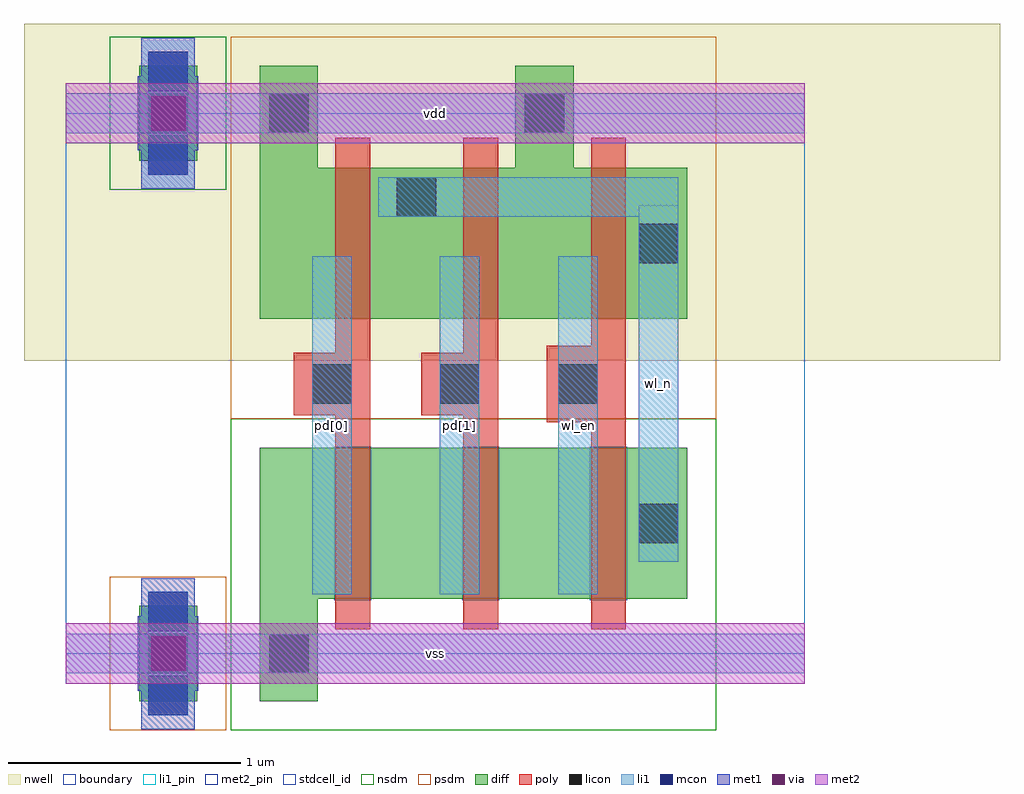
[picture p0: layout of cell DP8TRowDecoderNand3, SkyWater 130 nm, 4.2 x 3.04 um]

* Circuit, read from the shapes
.subckt DP8TRowDecoderNand3 pd[0] pd[1] vdd vss wl_en wl_n
XM1 n1 pd[0] vss VSUBS sky130_fd_pr__nfet_01v8 w=0.65 l=0.15
XM2 n2 pd[1] n1 VSUBS sky130_fd_pr__nfet_01v8 w=0.65 l=0.15
XM3 wl_n wl_en n2 VSUBS sky130_fd_pr__nfet_01v8 w=0.65 l=0.15
XM4 wl_n pd[0] vdd n3 sky130_fd_pr__pfet_01v8 w=0.65 l=0.15
XM5 vdd pd[1] wl_n n3 sky130_fd_pr__pfet_01v8 w=0.65 l=0.15
XM6 wl_n wl_en vdd n3 sky130_fd_pr__pfet_01v8 w=0.65 l=0.15
.ends

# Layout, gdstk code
import gdstk
lib = gdstk.Library(unit=1e-6, precision=1e-09)
def R(c, l, rs):  # rectangles x0, y0, x1, y1
    for r in rs: c.add(gdstk.rectangle(r[:2], r[2:], *l))
def A(c, l, x, y, w, h, nx, ny, dx, dy):  # array of equal rectangles
    R(c, l, [(x+i*dx, y+j*dy, x+i*dx+w, y+j*dy+h) for i in range(nx) for j in range(ny)])
def P(c, l, *ps):  # polygons
    for p in ps: c.add(gdstk.Polygon(p, *l))
nwell = (64, 20)
diff = (65, 20)
poly = (66, 20)
licon = (66, 44)
li1_pin = (67, 16)
li1 = (67, 20)
mcon = (67, 44)
met1 = (68, 20)
via = (68, 44)
met2_pin = (69, 16)
met2 = (69, 20)
stdcell_id = (81, 4)
nsdm = (93, 44)
psdm = (94, 20)
boundary = (235, 4)

dp8trowdecodernand3 = lib.new_cell('DP8TRowDecoderNand3')
R(dp8trowdecodernand3, nwell, [(-0.18,1.26,4.02,2.71)])
R(dp8trowdecodernand3, diff, [(0.315,-0.205,0.565,0.205), (0.315,2.12,0.565,2.53)])
P(dp8trowdecodernand3, diff, [(0.835,-0.205),(0.835,0.885),(2.675,0.885),(2.675,0.235),(1.085,0.235),(1.085,-0.205)],
  [(0.835,1.44),(0.835,2.53),(1.085,2.53),(1.085,2.09),(1.935,2.09),(1.935,2.53),(2.185,2.53),(2.185,2.09),(2.675,2.09),(2.675,1.44)])
P(dp8trowdecodernand3, poly, [(1.16,0.105),(1.16,1.025),(0.98,1.025),(0.98,1.295),(1.16,1.295),(1.16,2.22),(1.31,2.22),(1.31,0.105)],
  [(1.71,0.105),(1.71,1.025),(1.53,1.025),(1.53,1.295),(1.71,1.295),(1.71,2.22),(1.86,2.22),(1.86,0.105)],
  [(2.26,0.105),(2.26,0.995),(2.07,0.995),(2.07,1.325),(2.26,1.325),(2.26,2.22),(2.41,2.22),(2.41,0.105)])
R(dp8trowdecodernand3, licon, [(0.355,-0.085,0.525,0.085), (0.875,-0.085,1.045,0.085), (2.465,0.475,2.635,0.645), (1.06,1.075,1.23,1.245), (1.61,1.075,1.78,1.245), (2.12,1.075,2.29,1.245), (2.465,1.68,2.635,1.85), (1.425,1.88,1.595,2.05), (0.355,2.24,0.525,2.41), (0.875,2.24,1.045,2.41), (1.975,2.24,2.145,2.41)])
R(dp8trowdecodernand3, li1_pin, [(1.06,0.255,1.23,1.71), (1.61,0.255,1.78,1.71), (2.12,0.255,2.29,1.71), (2.465,0.395,2.635,1.93)])
R(dp8trowdecodernand3, li1, [(1.06,0.255,1.23,1.71), (1.61,0.255,1.78,1.71), (2.12,0.255,2.29,1.71)])
P(dp8trowdecodernand3, li1, [(0.355,-0.265),(0.355,-0.085),(0,-0.085),(0,0.085),(0.355,0.085),(0.355,0.265),(0.525,0.265),(0.525,0.085),(3.18,0.085),(3.18,-0.085),(0.525,-0.085),(0.525,-0.265)],
  [(0.355,2.06),(0.355,2.24),(0,2.24),(0,2.41),(0.355,2.41),(0.355,2.59),(0.525,2.59),(0.525,2.41),(3.18,2.41),(3.18,2.24),(0.525,2.24),(0.525,2.06)],
  [(2.465,0.395),(2.465,1.88),(1.345,1.88),(1.345,2.05),(2.635,2.05),(2.635,0.395)])
R(dp8trowdecodernand3, mcon, [(0.355,-0.265,0.525,-0.095), (0.355,0.095,0.525,0.265), (0.355,2.06,0.525,2.23), (0.355,2.42,0.525,2.59)])
P(dp8trowdecodernand3, met1, [(0.325,-0.325),(0.325,-0.16),(0.31,-0.16),(0.31,0.16),(0.325,0.16),(0.325,0.325),(0.555,0.325),(0.555,0.16),(0.57,0.16),(0.57,-0.16),(0.555,-0.16),(0.555,-0.325)],
  [(0.325,2),(0.325,2.165),(0.31,2.165),(0.31,2.485),(0.325,2.485),(0.325,2.65),(0.555,2.65),(0.555,2.485),(0.57,2.485),(0.57,2.165),(0.555,2.165),(0.555,2)])
R(dp8trowdecodernand3, via, [(0.365,-0.075,0.515,0.075), (0.365,2.25,0.515,2.4)])
R(dp8trowdecodernand3, met2_pin, [(0,-0.13,3.18,0.13), (0,2.195,3.18,2.455)])
R(dp8trowdecodernand3, met2, [(0,-0.13,3.18,0.13), (0,2.195,3.18,2.455)])
A(dp8trowdecodernand3, stdcell_id, 1.155, 0.23, 0.16, 0.66, 3, 1, 0.55, 0)
R(dp8trowdecodernand3, nsdm, [(0.71,-0.33,2.8,1.01), (0.19,1.995,0.69,2.655)])
R(dp8trowdecodernand3, psdm, [(0.19,-0.33,0.69,0.33), (0.71,1.01,2.8,2.655)])
R(dp8trowdecodernand3, boundary, [(0,0,3.18,2.325)])
dp8trowdecodernand3.add(gdstk.Label('vss', (1.59,0), layer=69, texttype=16))
dp8trowdecodernand3.add(gdstk.Label('vdd', (1.59,2.325), layer=69, texttype=16))
dp8trowdecodernand3.add(gdstk.Label('pd[0]', (1.145,0.983), layer=67, texttype=16))
dp8trowdecodernand3.add(gdstk.Label('wl_n', (2.55,1.163), layer=67, texttype=16))
dp8trowdecodernand3.add(gdstk.Label('pd[1]', (1.695,0.983), layer=67, texttype=16))
dp8trowdecodernand3.add(gdstk.Label('wl_en', (2.205,0.983), layer=67, texttype=16))

lib.write_gds('DP8TRowDecoderNand3.gds')
